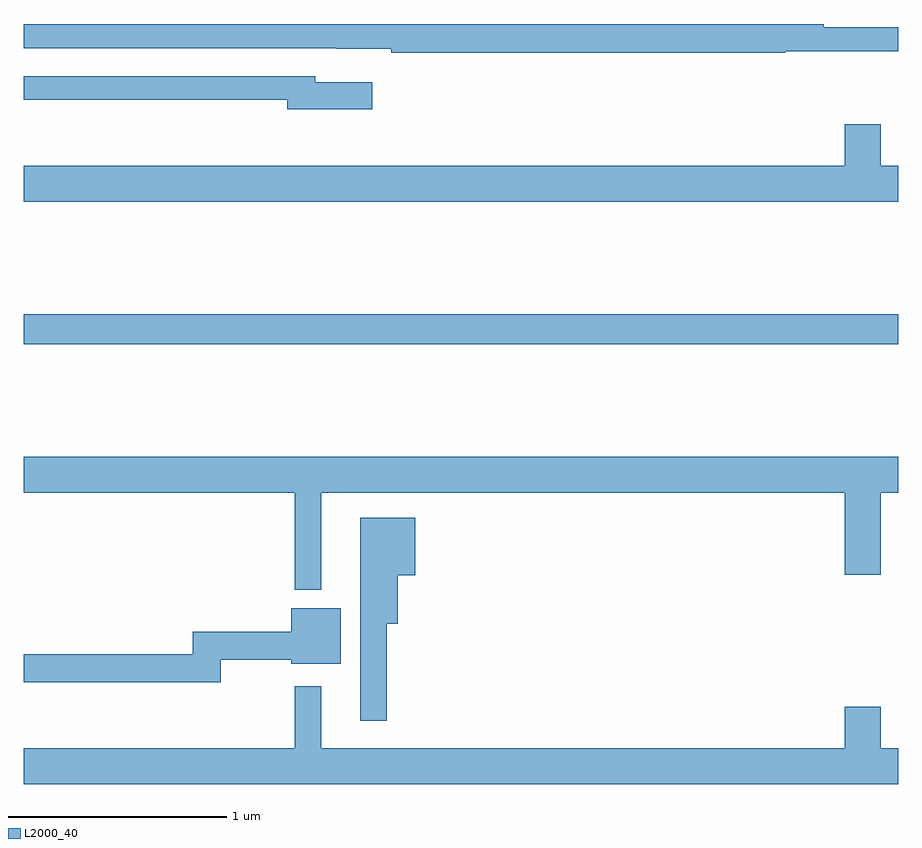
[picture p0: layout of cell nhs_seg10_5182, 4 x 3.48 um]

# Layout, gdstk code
import gdstk
lib = gdstk.Library(unit=1e-6, precision=1e-09)
def R(c, l, rs):  # rectangles x0, y0, x1, y1
    for r in rs: c.add(gdstk.rectangle(r[:2], r[2:], *l))
def P(c, l, *ps):  # polygons
    for p in ps: c.add(gdstk.Polygon(p, *l))
L2000_40 = (2000, 40)

nhs_seg10_5182 = lib.new_cell('nhs_seg10_5182')
R(nhs_seg10_5182, L2000_40, [(413,1261.036,417,1261.172)])
P(nhs_seg10_5182, L2000_40, [(416.482,1262.376),(417,1262.376),(417,1262.485),(416.66,1262.485),(416.66,1262.5),(413,1262.5),(413,1262.388),(414.43,1262.388),(414.43,1262.387),(414.682,1262.387),(414.682,1262.368),(416.482,1262.368)],
  [(414.595,1262.233),(414.334,1262.233),(414.334,1262.262),(413,1262.262),(413,1262.154),(414.206,1262.154),(414.206,1262.111),(414.595,1262.111)],
  [(417,1261.852),(416.92,1261.852),(416.92,1262.041),(416.756,1262.041),(416.756,1261.852),(413,1261.852),(413,1261.688),(417,1261.688)],
  [(414.361,1260.356),(416.756,1260.356),(416.756,1259.982),(416.92,1259.982),(416.92,1260.356),(417,1260.356),(417,1260.52),(413,1260.52),(413,1260.356),(414.24,1260.356),(414.24,1259.912),(414.361,1259.912)],
  [(414.661,1259.756),(414.71,1259.756),(414.71,1259.978),(414.79,1259.978),(414.79,1260.241),(414.539,1260.241),(414.539,1259.313),(414.661,1259.313)],
  [(413.902,1259.592),(414.224,1259.592),(414.224,1259.573),(414.451,1259.573),(414.451,1259.827),(414.224,1259.827),(414.224,1259.72),(413.773,1259.72),(413.773,1259.618),(413,1259.618),(413,1259.49),(413.902,1259.49)],
  [(417,1259.188),(416.92,1259.188),(416.92,1259.377),(416.756,1259.377),(416.756,1259.188),(414.361,1259.188),(414.361,1259.47),(414.24,1259.47),(414.24,1259.188),(413,1259.188),(413,1259.024),(417,1259.024)])

lib.write_gds('nhs_seg10_5182.gds')
